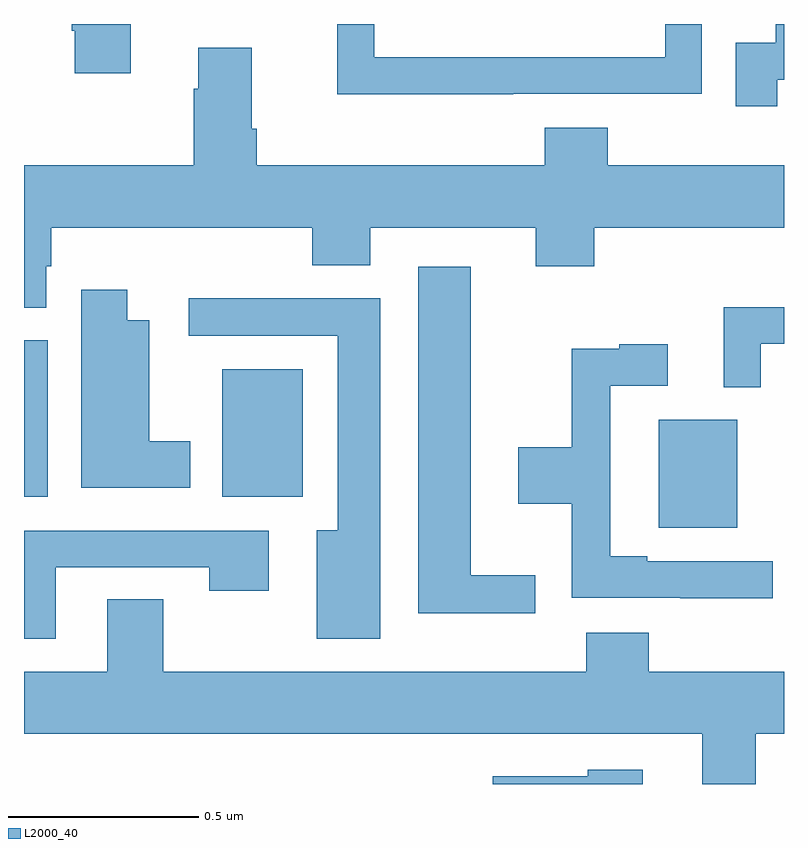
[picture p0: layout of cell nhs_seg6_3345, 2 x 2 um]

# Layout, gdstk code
import gdstk
lib = gdstk.Library(unit=1e-6, precision=1e-09)
def R(c, l, rs):  # rectangles x0, y0, x1, y1
    for r in rs: c.add(gdstk.rectangle(r[:2], r[2:], *l))
def P(c, l, *ps):  # polygons
    for p in ps: c.add(gdstk.Polygon(p, *l))
L2000_40 = (2000, 40)

nhs_seg6_3345 = lib.new_cell('nhs_seg6_3345')
R(nhs_seg6_3345, L2000_40, [(156.671,985.175,156.877,985.459), (155,985.256,155.062,985.668), (155.522,985.256,155.734,985.591)])
P(nhs_seg6_3345, L2000_40, [(155.281,986.5),(155.125,986.5),(155.125,986.482),(155.133,986.482),(155.133,986.37),(155.281,986.37)],
  [(156.287,986.316),(156.783,986.316),(156.783,986.5),(156.687,986.5),(156.687,986.412),(155.922,986.412),(155.922,986.5),(155.824,986.5),(155.824,986.315),(156.287,986.315)],
  [(156.982,986.353),(157,986.353),(157,986.5),(156.978,986.5),(156.978,986.451),(156.873,986.451),(156.873,986.283),(156.982,986.283)],
  [(155.059,985.863),(155.072,985.863),(155.072,985.964),(155.759,985.964),(155.759,985.865),(155.911,985.865),(155.911,985.964),(156.347,985.964),(156.347,985.862),(156.5,985.862),(156.5,985.964),(157,985.964),(157,986.128),(156.536,986.128),(156.536,986.227),(156.371,986.227),(156.371,986.128),(155.612,986.128),(155.612,986.224),(155.599,986.224),(155.599,986.437),(155.459,986.437),(155.459,986.33),(155.447,986.33),(155.447,986.128),(155,986.128),(155,985.753),(155.059,985.753)],
  [(156.346,985.049),(156.175,985.049),(156.175,985.861),(156.038,985.861),(156.038,984.95),(156.346,984.95)],
  [(155.437,985.402),(155.329,985.402),(155.329,985.72),(155.272,985.72),(155.272,985.801),(155.15,985.801),(155.15,985.28),(155.437,985.28)],
  [(155.938,985.778),(155.433,985.778),(155.433,985.68),(155.825,985.68),(155.825,985.168),(155.771,985.168),(155.771,984.882),(155.938,984.882)],
  [(156.939,985.659),(157,985.659),(157,985.755),(156.842,985.755),(156.842,985.544),(156.939,985.544)],
  [(156.97,985.086),(156.64,985.086),(156.64,985.099),(156.543,985.099),(156.543,985.548),(156.694,985.548),(156.694,985.657),(156.566,985.657),(156.566,985.646),(156.442,985.646),(156.442,985.386),(156.3,985.386),(156.3,985.238),(156.442,985.238),(156.442,984.99),(156.727,984.99),(156.727,984.989),(156.97,984.989)],
  [(155.083,985.071),(155.488,985.071),(155.488,985.008),(155.644,985.008),(155.644,985.167),(155,985.167),(155,984.882),(155.083,984.882)],
  [(156.925,984.632),(157,984.632),(157,984.796),(156.644,984.796),(156.644,984.898),(156.479,984.898),(156.479,984.796),(155.367,984.796),(155.367,984.986),(155.219,984.986),(155.219,984.796),(155,984.796),(155,984.632),(156.785,984.632),(156.785,984.5),(156.925,984.5)],
  [(156.628,984.538),(156.483,984.538),(156.483,984.52),(156.234,984.52),(156.234,984.5),(156.628,984.5)])

lib.write_gds('nhs_seg6_3345.gds')
